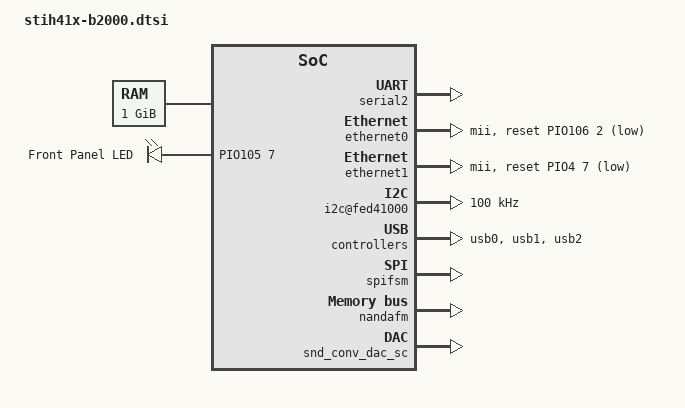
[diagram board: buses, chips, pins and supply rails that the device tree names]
/*
 * Copyright (C) 2013 STMicroelectronics (R&D) Limited.
 * Author: Srinivas Kandagatla <srinivas.kandagatla@st.com>
 *
 * This program is free software; you can redistribute it and/or modify
 * it under the terms of the GNU General Public License version 2 as
 * publishhed by the Free Software Foundation.
 */
#include <dt-bindings/input/input.h>
/ {

	memory{
		device_type = "memory";
		reg = <0x60000000 0x40000000>;
	};

	chosen {
		bootargs = "console=ttyAS0,115200";
		linux,stdout-path = &serial2;
	};

	aliases {
		ttyAS0 = &serial2;
		ethernet0 = &ethernet0;
		ethernet1 = &ethernet1;
		usb0 = &usb0;
		usb1 = &usb1;
		usb2 = &usb2;
	};

	soc {
		serial2: serial@fed32000 {
			status = "okay";
		};

		leds {
			compatible = "gpio-leds";
			fp_led {
				#gpio-cells = <1>;
				label = "Front Panel LED";
				gpios = <&PIO105 7>;
				linux,default-trigger = "heartbeat";
			};
		};

		ethernet0: dwmac@fe810000 {
			status = "okay";
			st,tx-retime-src = "txclk";

			phy-mode = "mii";

			snps,reset-gpio = <&PIO106 2>;
			snps,reset-active-low;
			snps,reset-delays-us = <0 10000 10000>;
		};

		ethernet1: dwmac@fef08000 {
			status = "okay";
			st,tx-retime-src = "txclk";

			phy-mode = "mii";

			snps,reset-gpio = <&PIO4 7>;
			snps,reset-active-low;
			snps,reset-delays-us = <0 10000 10000>;
		};

		lpm:stm-lpm@fe400000 {
			status = "okay";
			gpios = <&PIO4 3>;
			st,lmi-ret-gpio = <&PIO4 4>;
		};

		/* HDMI Tx I2C */
		i2c@fed41000 {
			/* HDMI V1.3a supports Standard mode only */
			clock-frequency = <100000>;
			st,i2c-min-scl-pulse-width-us = <0>;
			st,i2c-min-sda-pulse-width-us = <5>;

			status = "okay";
		};

		/* On the reference boards, the mmc can be available if use the
		   b2048 daughter board exclusively plugged on CN22 (often used
		   for b2032 daughter board (PHY device).
		   The b2048 can be available with eMMC or SD/MMC slot so
		   "non-removable" field should be used as consequence of the
		   selected setup.

		mmc0: sdhci@fe81e000 {
			status = "okay";
			non-removable;
		};
		*/

		usb0: usb@fe100000 {
			status = "okay";
		};

		usb1: usb@fe200000 {
			status = "okay";
		};

		usb2: usb@fe300000 {
			status = "okay";
		};

		keyscan: keyscan@fe4b0000 {
			keypad,num-rows = <4>;
			keypad,num-columns = <4>;
			st,debounce_us = <5000>;
			linux,keymap = < /* in0	in1	in2    in3 */
					KEY_F13 KEY_F9  KEY_F5 KEY_F1		/* out0 */
					KEY_F14 KEY_F10 KEY_F6 KEY_F2		/* out1 */
					KEY_F15 KEY_F11 KEY_F7 KEY_F3		/* out2 */
					KEY_F16 KEY_F12 KEY_F8 KEY_F4 >;	/* out3 */
		};

		/* FSM */
		spifsm:	spifsm@fe902000 {
			status = "okay";
			flash-name = "n25q128";
			partitions = <&b2000_fsm_partitions>;

			b2000_fsm_partitions: partitions-b2000 {
		                #address-cells = <1>;
			        #size-cells = <1>;
				partition@0 {
					label = "boot";
					reg = <0x00000000 0x00500000>;
				};
				partition@500000 {
					label = "rest";
					reg = <0x00500000 0x00b00000>;
				};
			};
		};

		nandafm: nand-afm {
			status = "okay";
			st,rbn-flex-connected;
			st,nand-banks = <&nand_banks>;
		};

		nand_banks: nand-banks {
			/*
			 * NAND Flash via b2006/b2007 VPMEM module.
			 * Configuration below assumes module is fitted
			 * with Samsung K9F2G08U0C device:
			 *   - Size = 2Gib(256MiB), Page = 2048+64, Block = 128MiB
			 *   - ECC = 1-bit/526B min
			 * Please update configuration if module is populated
			 * with a different device.
			 */
			bank0 {
				nand-on-flash-bbt;
				nand-no-autoincr;
				st,nand-csn = <0>;
				st,nand-timing-spec = <&samsung_k9f2g08u0c_tspec>;
				st,nand-timing-relax = <0>;
				partitions {
					#address-cells = <1>;
			                #size-cells = <1>;
					partition@0 {
						label = "NAND Flash 1";
						reg = <0x00000000 0x00800000>;
					};
					partition@800000 {
						label = "NAND Flash 2";
						reg = <0x00800000 0x0f800000>;
					};
				};
			};
		};

		samsung_k9f2g08u0c_tspec: nand-timing-spec {
			tR = <40>;
			tCLS = <12>;
			tCS = <20>;
			tALS = <12>;
			tDS = <12>;
			tWP = <12>;
			tCLH = <5>;
			tCH = <5>;
			tALH = <5>;
			tDH = <5>;
			tWB = <100>;
			tWH = <10>;
			tWC = <25>;
			tRP = <12>;
			tREH = <15>;
			tRC = <25>;
			tREA = <20>;
			tRHOH = <15>;
			tCEA = <25>;
			tCOH = <15>;
			tCHZ = <30>;
			tCSD = <10>;
		};

		/* Uniperipheral */
		snd_uni_player0: snd-uni-player@0xfe002000 {
			status = "okay";
		};

		snd_uni_player1: snd-uni-player@0xfe003000 {
			status = "okay";
		};

		snd_uni_player2: snd-uni-player@0xfe004000 {
			status = "okay";
		};

		snd_uni_player3: snd-uni-player@0xfe006000 {
			status = "okay";
		};

		snd_uni_reader0: snd-uni-reader@0xfe005000 {
			status = "disabled";
		};

		snd_uni_reader1: snd-uni-reader@0xfe007000 {
			status = "disabled";
		};

		snd_conv_dac_sc: snd-conv-dac-sc {
			status = "okay";
		};

		snd_conv_biphase: snd-conv-biphase {
			status = "okay";
		};
	};
};
